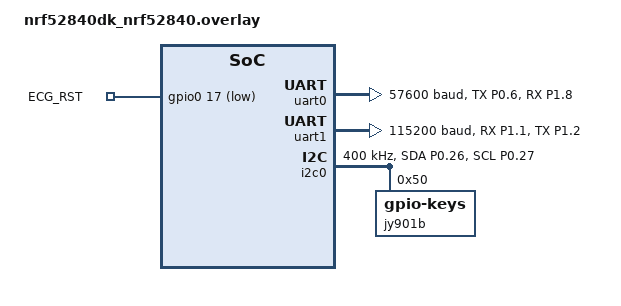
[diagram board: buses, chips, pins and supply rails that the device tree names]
/* boards/nrf52840dk_nrf52840.overlay */

/* ----------- PINCTRL ----------- */
&pinctrl {
    /* I2C0：SDA=P0.26 / SCL=P0.27 */
    i2c0_default: i2c0_default {
        group1 {
            psels = <NRF_PSEL(TWIM_SDA, 0, 26)>,
                    <NRF_PSEL(TWIM_SCL, 0, 27)>;
        };
    };
    i2c0_sleep: i2c0_sleep {
        group1 {
            psels = <NRF_PSEL(TWIM_SDA, 0, 26)>,
                    <NRF_PSEL(TWIM_SCL, 0, 27)>;
            low-power-enable;
        };
    };

    /* UART1（UWB） */
    uart1_default: uart1_default {
        group1 { psels = <NRF_PSEL(UART_RX, 1, 1)>; bias-pull-up; };
        group2 { psels = <NRF_PSEL(UART_TX, 1, 2)>; };
    };
    uart1_sleep: uart1_sleep {
        group1 {
            psels = <NRF_PSEL(UART_RX, 1, 1)>,
                    <NRF_PSEL(UART_TX, 1, 2)>;
            low-power-enable;
        };
    };

    /* UART0（ECG）：TX=P0.06，RX=P1.08 */
    uart0_default: uart0_default {
        group1 {
            psels = <NRF_PSEL(UART_TX, 0, 6)>,
                    <NRF_PSEL(UART_RX, 1, 8)>;
            bias-pull-up;
        };

    };
    uart0_sleep: uart0_sleep {
        group1 {
            psels = <NRF_PSEL(UART_TX, 0, 6)>,
                    <NRF_PSEL(UART_RX, 1, 8)>;
            low-power-enable;
        };
    };
};

/* ----------- 外设节点 ----------- */

/* 打开 UART0（ECG），57600/8N1；绑定到 P0.06 / P1.08 */
&uart0 {
    status        = "okay";
    current-speed = <57600>;
    pinctrl-0     = <&uart0_default>;
    pinctrl-1     = <&uart0_sleep>;
    pinctrl-names = "default", "sleep";
        /* 删除旧式引脚属性，避免和 pinctrl 混在一起显示 */
    /delete-property/ rx-pin;
    /delete-property/ tx-pin;
    /delete-property/ rts-pin;
    /delete-property/ cts-pin;
};

/* UART1（UWB）保持不变 */
&uart1 {
    status        = "okay";
    current-speed = <115200>;
    pinctrl-0     = <&uart1_default>;
    pinctrl-1     = <&uart1_sleep>;
    pinctrl-names = "default", "sleep";
};

/* 依然禁用 SPI1 */
&spi1 {
    status = "disabled";
};

/* I2C0 保持开启 */
&i2c0 {
    compatible      = "nordic,nrf-twim";
    status          = "okay";
    clock-frequency = <I2C_BITRATE_FAST>;
    pinctrl-0       = <&i2c0_default>;
    pinctrl-1       = <&i2c0_sleep>;
    pinctrl-names   = "default", "sleep";

    jy901b@50 {
        compatible = "gpio-keys";   /* 用一个有 binding 的兼容，避免部分环境对“void”告警 */
        reg = <0x50>;
        status = "okay";
        /* 不实际使用中断，仅占位 */
        button: button {
            gpios = <&gpio0 26 GPIO_ACTIVE_LOW>;
            label = "dummy";
        };
    };
};

/* 1) 禁用 QSPI，释放 P0.17..P0.23 */
&qspi {
    status = "disabled";
};

/* 2) 重新声明 gpio-reserved-ranges，不再预留 17..23 */
&gpio0 {
    /* 保留原板的 0..1, 6, 8..10 等，但去掉 17..23 */
    gpio-reserved-ranges = <0 2>, <6 1>, <8 3>;
};

/* 3) ECG RESET（低有效，P0.17） */
 / {
    ecg_reset: ecg_reset {
        compatible = "gpio-keys";
        ecg_rst: ecg_rst {
            gpios = <&gpio0 17 GPIO_ACTIVE_LOW>;  /* P0.17 → RESET */
            label = "ECG_RST";
        };
    };
};

/* 4) 关掉 USB（可留可去） */
&usbd {
    status = "disabled";
};
/delete-node/ &{/pin-controller/uart0_default/group2/};
